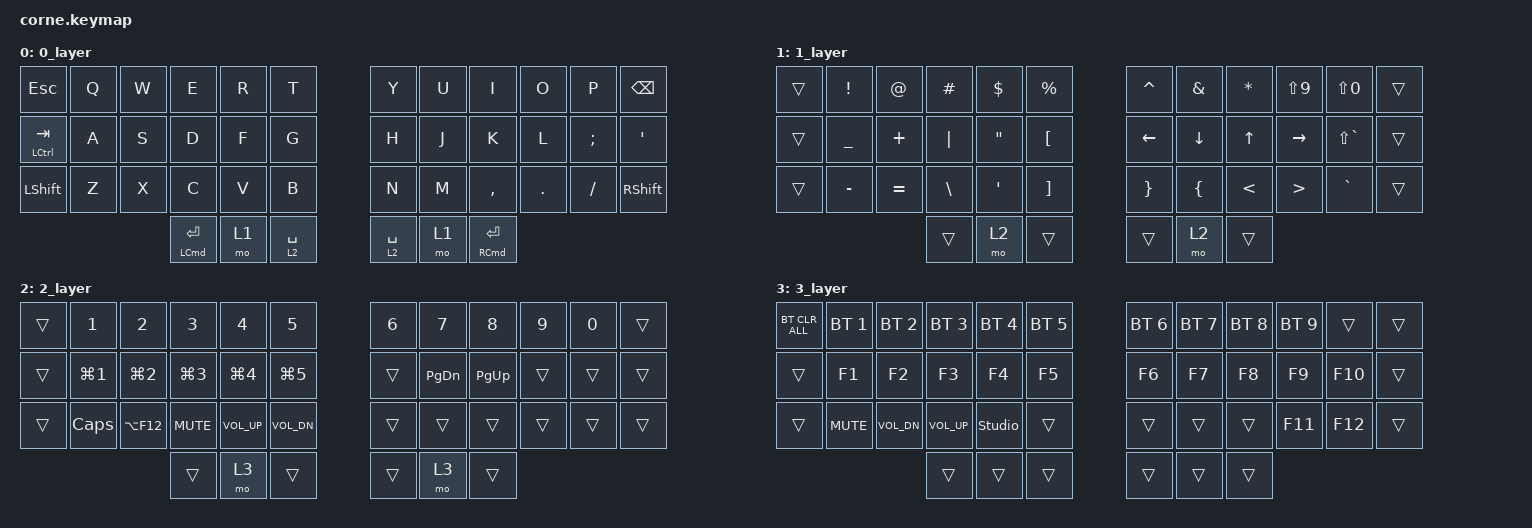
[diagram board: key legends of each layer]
/*
 * Copyright (c) 2020 The ZMK Contributors
 *
 * SPDX-License-Identifier: MIT
 */

#include <behaviors.dtsi>
#include <dt-bindings/zmk/keys.h>
#include <dt-bindings/zmk/bt.h>


/ {

        behaviors {
            rpi: require_prior_idle {
            compatible = "zmk,behavior-hold-tap";
            #binding-cells = <2>;
            flavor = "tap-preferred";
            tapping-term-ms = <200>;
            quick-tap-ms = <200>;
            require-prior-idle-ms = <125>;
            bindings = <&kp>, <&kp>;
            };
        };

        keymap {
                compatible = "zmk,keymap";
// -----------------------------------------------------------------------------------------
0_layer { bindings = <
   &kp ESC       &kp Q &kp W &kp E &kp R &kp T   &kp Y &kp U  &kp I     &kp O   &kp P    &kp BSPC
   &mt LCTRL TAB &kp A &kp S &kp D &kp F &kp G   &kp H &kp J  &kp K     &kp L   &kp SEMI &kp SQT
   &kp LSHFT     &kp Z &kp X &kp C &kp V &kp B   &kp N &kp M  &kp COMMA &kp DOT &kp FSLH &kp RSHFT
                    &mt LCMD RET    &mo 1    &lt 2 SPACE     &lt 2 SPACE    &mo 1    &mt RCMD RET
>;};

// -----------------------------------------------------------------------------------------
1_layer { bindings = <
   &trans    &kp EXCL    &kp AT      &kp HASH      &kp DLLR      &kp PRCNT        &kp CARET     &kp AMPS       &kp ASTRK       &kp LS(N9)       &kp LS(N0)       &trans
   &trans    &kp UNDER   &kp PLUS    &kp PIPE      &kp DQT       &kp LBKT         &kp LEFT      &kp DOWN       &kp UP          &kp RIGHT        &kp LS(GRAVE)    &trans
   &trans    &kp MINUS   &kp EQUAL   &kp BSLH      &kp SQT       &kp RBKT         &kp RBRC      &kp LBRC       &kp LT          &kp GT           &kp GRAVE        &trans
                   &trans    &mo 2    &trans    &trans   &mo 2    &trans
>;};

// -----------------------------------------------------------------------------------------
2_layer { bindings = <
   &trans    &kp N1       &kp N2        &kp N3       &kp N4         &kp N5          &kp N6    &kp N7    &kp N8     &kp N9    &kp N0    &trans 
   &trans    &kp LG(N1)   &kp LG(N2)    &kp LG(N3)   &kp LG(N4)     &kp LG(N5)      &trans    &kp PG_DN &kp PG_UP  &trans    &trans    &trans
   &trans    &kp CAPS     &kp LA(F12)   &kp C_MUTE   &kp C_VOL_UP   &kp C_VOL_DN          &trans    &trans    &trans     &trans    &trans    &trans
                   &trans    &mo 3    &trans     &trans   &mo 3    &trans
>;};

// -----------------------------------------------------------------------------------------
3_layer { bindings = <
   &bt BT_CLR_ALL   &bt BT_SEL 1   &bt BT_SEL 2    &bt BT_SEL 3     &bt BT_SEL 4         &bt BT_SEL 5       &bt BT_SEL 6    &bt BT_SEL 7   &bt BT_SEL 8     &bt BT_SEL 9    &trans    &trans 
   &trans           &kp F1         &kp F2          &kp F3           &kp F4               &kp F5             &kp F6          &kp F7         &kp F8           &kp F9          &kp F10   &trans
   &trans           &kp C_MUTE     &kp C_VOL_DN    &kp C_VOL_UP     &studio_unlock       &trans             &trans          &trans         &trans           &kp F11         &kp F12   &trans
                   &trans    &trans    &trans    &trans   &trans    &trans
>;};
// -----------------------------------------------------------------------------------------

};};

